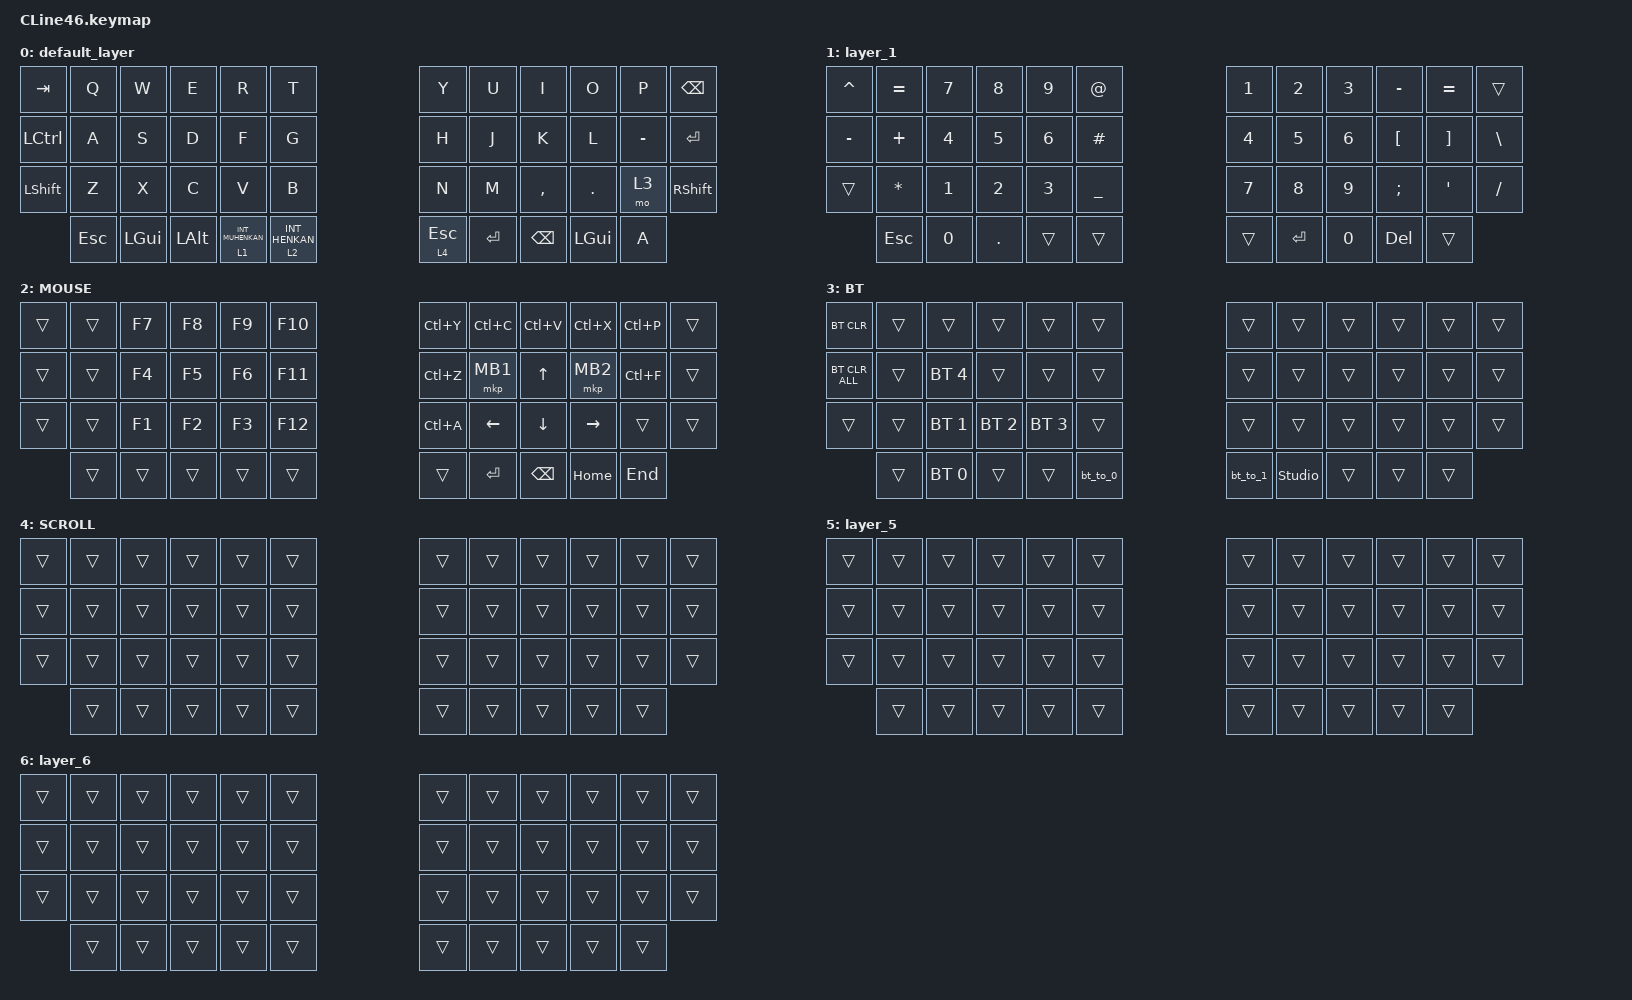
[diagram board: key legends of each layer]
#include <input/processors.dtsi>
#include <dt-bindings/zmk/input_transform.h>
#include <zephyr/dt-bindings/input/input-event-codes.h>
#include <behaviors.dtsi>
#include <dt-bindings/zmk/bt.h>
#include <dt-bindings/zmk/keys.h>
#include <dt-bindings/zmk/pointing.h>

&mt {
    flavor = "balanced";
    quick-tap-ms = <0>;
};

/ {
    combos {
        compatible = "zmk,combos";

        tab {
            bindings = <&kp TAB>;
            key-positions = <11 12>;
        };

        shift_tab {
            bindings = <&kp LS(TAB)>;
            key-positions = <12 13>;
        };
    };

    macros {
        to_layer_0: to_layer_0 {
            compatible = "zmk,behavior-macro-one-param";
            #binding-cells = <1>;
            bindings = <&to 0 &macro_param_1to1 &kp MACRO_PLACEHOLDER>;
            label = "TO_LAYER_0";
        };

        // BT profile 1 を切断して profile 0 に接続
        bt_to_0: bt_to_0 {
            compatible = "zmk,behavior-macro";
            #binding-cells = <0>;
            wait-ms = <100>;
            tap-ms = <100>;
            bindings = <&bt BT_DISC 1>, <&bt BT_SEL 0>;
            label = "BT_TO_0";
        };

        // BT profile 0 を切断して profile 1 に接続
        bt_to_1: bt_to_1 {
            compatible = "zmk,behavior-macro";
            #binding-cells = <0>;
            wait-ms = <100>;
            tap-ms = <100>;
            bindings = <&bt BT_DISC 0>, <&bt BT_SEL 1>;
            label = "BT_TO_1";
        };
    };

    behaviors {
        lt_to_layer_0: lt_to_layer_0 {
            compatible = "zmk,behavior-hold-tap";
            label = "LAYER_TAP_TO_0";
            bindings = <&mo>, <&to_layer_0>;

            #binding-cells = <2>;
            tapping-term-ms = <200>;
        };
    };

    keymap {
        compatible = "zmk,keymap";

        default_layer {
            bindings = <
&kp TAB      &kp Q     &kp W      &kp E     &kp R                  &kp T                                                  &kp Y     &kp U   &kp I       &kp O     &kp P     &kp BSPC
&kp LCTRL    &kp A     &kp S      &kp D     &kp F                  &kp G                                                  &kp H     &kp J   &kp K       &kp L     &kp MINUS &kp RET
&kp LSHIFT   &kp Z     &kp X      &kp C     &kp V                  &kp B                                                  &kp N     &kp M   &kp COMMA   &kp DOT   &mo 3     &kp RSHIFT
             &kp ESC   &kp LGUI   &kp LALT  &lt 1 INT_MUHENKAN     &lt 2 INT_HENKAN   &lt 4 ESC           &kp RET   &kp BSPC                             &kp LGUI     &kp A
            >;
        };


        layer_1 {
            bindings = <
&kp CARET    &kp EQUAL      &kp NUMBER_7   &kp NUMBER_8   &kp NUMBER_9   &kp AT_SIGN                                 &kp NUMBER_1   &kp NUMBER_2   &kp NUMBER_3   &kp MINUS         &kp EQUAL         &trans
&kp MINUS    &kp PLUS       &kp NUMBER_4   &kp NUMBER_5   &kp NUMBER_6   &kp HASH                                    &kp NUMBER_4   &kp NUMBER_5   &kp NUMBER_6   &kp LEFT_BRACKET  &kp RIGHT_BRACKET &kp BACKSLASH
&trans       &kp ASTERISK   &kp NUMBER_1   &kp NUMBER_2   &kp NUMBER_3   &kp UNDERSCORE                              &kp NUMBER_7   &kp NUMBER_8   &kp NUMBER_9   &kp SEMI          &kp SINGLE_QUOTE  &kp SLASH
             &kp ESC        &kp NUMBER_0   &kp DOT        &trans         &trans           &trans      &kp RET   &kp NUMBER_0                                      &kp DEL           &trans
            >;
        };


        MOUSE {
            bindings = <
&trans   &trans   &kp F7   &kp F8   &kp F9   &kp F10                         &kp LC(Y)   &kp LC(C)        &kp LC(V)        &kp LC(X)         &kp LC(P)   &trans
&trans   &trans   &kp F4   &kp F5   &kp F6   &kp F11                         &kp LC(Z)   &mkp MB1         &kp UP_ARROW     &mkp MB2          &kp LC(F)   &trans
&trans   &trans   &kp F1   &kp F2   &kp F3   &kp F12                         &kp LC(A)   &kp LEFT_ARROW   &kp DOWN_ARROW   &kp RIGHT_ARROW   &trans      &trans
         &trans   &trans   &trans   &trans   &trans    &trans      &kp RET   &kp BSPC                                      &kp HOME          &kp END
            >;
        };


        BT {
            bindings = <
&bt BT_CLR       &trans   &trans         &trans         &trans         &trans                                &trans   &trans   &trans   &trans   &trans   &trans
&bt BT_CLR_ALL   &trans   &bt BT_SEL 4   &trans         &trans         &trans                                &trans   &trans   &trans   &trans   &trans   &trans
&trans           &trans   &bt BT_SEL 1   &bt BT_SEL 2   &bt BT_SEL 3   &trans                                &trans   &trans   &trans   &trans   &trans   &trans
                 &trans   &bt BT_SEL 0   &trans       &trans       &bt_to_0   &bt_to_1      &studio_unlock   &trans                     &trans   &trans
            >;
        };


        SCROLL {
            bindings = <
&trans   &trans   &trans   &trans   &trans   &trans                        &trans   &trans   &trans   &trans   &trans   &trans
&trans   &trans   &trans   &trans   &trans   &trans                        &trans   &trans   &trans   &trans   &trans   &trans
&trans   &trans   &trans   &trans   &trans   &trans                        &trans   &trans   &trans   &trans   &trans   &trans
         &trans   &trans   &trans   &trans   &trans   &trans      &trans   &trans                     &trans   &trans
            >;
        };


        layer_5 {
            bindings = <
&trans   &trans   &trans   &trans   &trans   &trans                        &trans   &trans   &trans   &trans   &trans   &trans
&trans   &trans   &trans   &trans   &trans   &trans                        &trans   &trans   &trans   &trans   &trans   &trans
&trans   &trans   &trans   &trans   &trans   &trans                        &trans   &trans   &trans   &trans   &trans   &trans
         &trans   &trans   &trans   &trans   &trans   &trans      &trans   &trans                     &trans   &trans
            >;
        };


        layer_6 {
            bindings = <
&trans   &trans   &trans   &trans   &trans   &trans                        &trans   &trans   &trans   &trans   &trans   &trans
&trans   &trans   &trans   &trans   &trans   &trans                        &trans   &trans   &trans   &trans   &trans   &trans
&trans   &trans   &trans   &trans   &trans   &trans                        &trans   &trans   &trans   &trans   &trans   &trans
         &trans   &trans   &trans   &trans   &trans   &trans      &trans   &trans                     &trans   &trans
            >;
        };
    };
};
